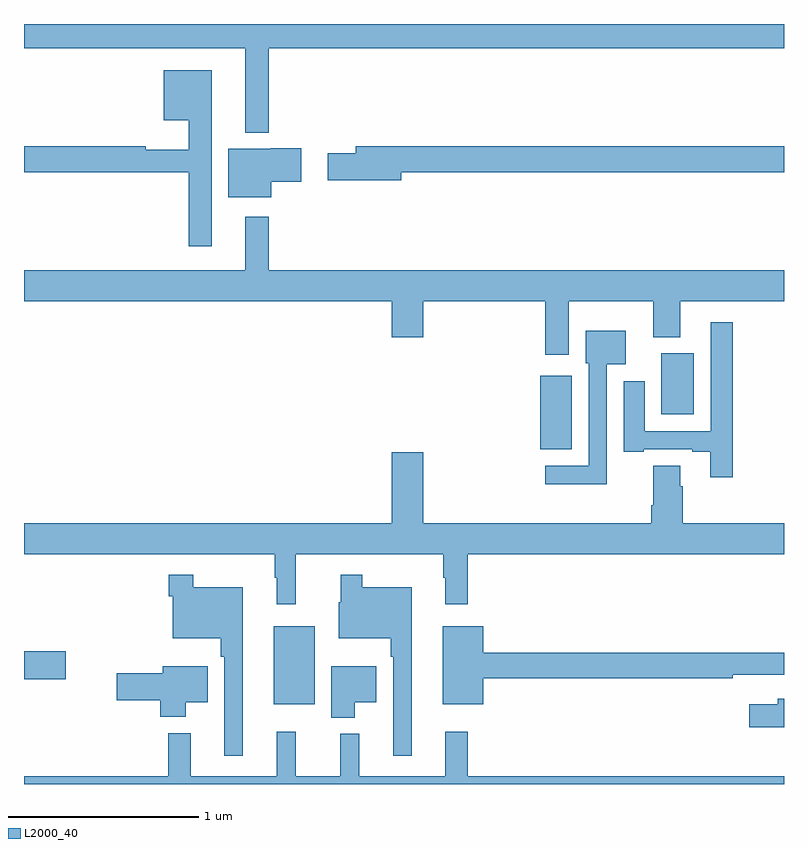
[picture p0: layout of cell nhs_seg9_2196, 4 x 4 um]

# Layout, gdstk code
import gdstk
lib = gdstk.Library(unit=1e-6, precision=1e-09)
def R(c, l, rs):  # rectangles x0, y0, x1, y1
    for r in rs: c.add(gdstk.rectangle(r[:2], r[2:], *l))
def P(c, l, *ps):  # polygons
    for p in ps: c.add(gdstk.Polygon(p, *l))
L2000_40 = (2000, 40)

nhs_seg9_2196 = lib.new_cell('nhs_seg9_2196')
R(nhs_seg9_2196, L2000_40, [(236.315,1240.919,236.53,1241.329), (235,1241.051,235.219,1241.198), (237.716,1242.263,237.883,1242.649), (238.355,1242.446,238.525,1242.766)])
P(nhs_seg9_2196, L2000_40, [(236.287,1244.372),(239,1244.372),(239,1244.5),(235,1244.5),(235,1244.372),(236.165,1244.372),(236.165,1243.928),(236.287,1243.928)],
  [(235.987,1244.257),(235.736,1244.257),(235.736,1243.994),(235.866,1243.994),(235.866,1243.837),(235.64,1243.837),(235.64,1243.856),(235,1243.856),(235,1243.72),(235.866,1243.72),(235.866,1243.329),(235.987,1243.329)],
  [(236.986,1243.72),(239,1243.72),(239,1243.856),(236.747,1243.856),(236.747,1243.82),(236.598,1243.82),(236.598,1243.678),(236.986,1243.678)],
  [(236.302,1243.669),(236.458,1243.669),(236.458,1243.847),(236.298,1243.847),(236.298,1243.843),(236.075,1243.843),(236.075,1243.589),(236.302,1243.589)],
  [(237.868,1243.04),(238.313,1243.04),(238.313,1242.851),(238.453,1242.851),(238.453,1243.04),(239,1243.04),(239,1243.204),(236.287,1243.204),(236.287,1243.486),(236.165,1243.486),(236.165,1243.204),(235,1243.204),(235,1243.04),(236.936,1243.04),(236.936,1242.852),(237.1,1242.852),(237.1,1243.04),(237.743,1243.04),(237.743,1242.759),(237.868,1242.759)],
  [(238.73,1242.931),(238.614,1242.931),(238.614,1242.357),(238.267,1242.357),(238.267,1242.619),(238.157,1242.619),(238.157,1242.249),(238.261,1242.249),(238.261,1242.261),(238.517,1242.261),(238.517,1242.249),(238.613,1242.249),(238.613,1242.114),(238.73,1242.114)],
  [(238.068,1242.71),(238.168,1242.71),(238.168,1242.886),(237.956,1242.886),(237.956,1242.714),(237.972,1242.714),(237.972,1242.174),(237.744,1242.174),(237.744,1242.077),(238.068,1242.077)],
  [(236.43,1241.708),(237.207,1241.708),(237.207,1241.585),(237.218,1241.585),(237.218,1241.445),(237.335,1241.445),(237.335,1241.708),(239,1241.708),(239,1241.872),(238.466,1241.872),(238.466,1242.068),(238.453,1242.068),(238.453,1242.176),(238.313,1242.176),(238.313,1241.968),(238.301,1241.968),(238.301,1241.872),(237.1,1241.872),(237.1,1242.247),(236.936,1242.247),(236.936,1241.872),(235,1241.872),(235,1241.708),(236.319,1241.708),(236.319,1241.585),(236.33,1241.585),(236.33,1241.445),(236.43,1241.445)],
  [(236.152,1241.536),(235.891,1241.536),(235.891,1241.602),(235.762,1241.602),(235.762,1241.489),(235.782,1241.489),(235.782,1241.267),(236.035,1241.267),(236.035,1241.171),(236.055,1241.171),(236.055,1240.65),(236.152,1240.65)],
  [(237.04,1241.536),(236.779,1241.536),(236.779,1241.602),(236.668,1241.602),(236.668,1241.457),(236.657,1241.457),(236.657,1241.267),(236.931,1241.267),(236.931,1241.171),(236.943,1241.171),(236.943,1240.65),(237.04,1240.65)],
  [(237.418,1241.056),(238.73,1241.056),(238.73,1241.076),(239,1241.076),(239,1241.192),(237.418,1241.192),(237.418,1241.329),(237.203,1241.329),(237.203,1240.919),(237.418,1240.919)],
  [(235.852,1240.931),(235.966,1240.931),(235.966,1241.119),(235.73,1241.119),(235.73,1241.084),(235.488,1241.084),(235.488,1240.942),(235.718,1240.942),(235.718,1240.853),(235.852,1240.853)],
  [(236.74,1240.931),(236.854,1240.931),(236.854,1241.119),(236.618,1241.119),(236.618,1240.85),(236.74,1240.85)],
  [(239,1240.95),(238.967,1240.95),(238.967,1240.921),(238.818,1240.921),(238.818,1240.799),(239,1240.799)],
  [(239,1240.54),(237.335,1240.54),(237.335,1240.774),(237.218,1240.774),(237.218,1240.54),(236.765,1240.54),(236.765,1240.765),(236.665,1240.765),(236.665,1240.54),(236.43,1240.54),(236.43,1240.774),(236.33,1240.774),(236.33,1240.54),(235.877,1240.54),(235.877,1240.768),(235.759,1240.768),(235.759,1240.54),(235,1240.54),(235,1240.5),(239,1240.5)])

lib.write_gds('nhs_seg9_2196.gds')
